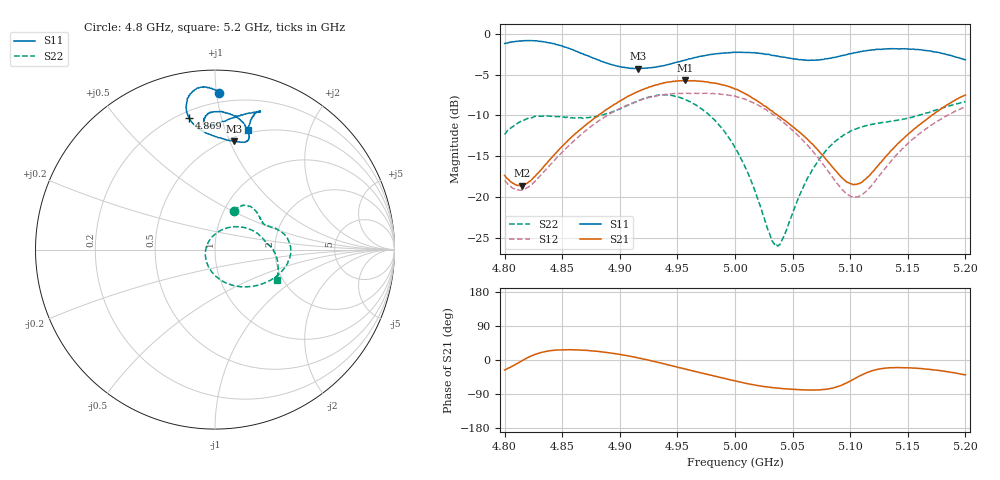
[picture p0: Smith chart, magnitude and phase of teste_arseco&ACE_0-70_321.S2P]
! Network Analyzer HP8722D
! Hewlett-Packard
! Data name: Linha & Wilkinson
! Saver's name: Rodrigo Anjos
! Comments: Teste da utilização de aquisição
! continua pelo VNA HP8722D
! Time and date: 8/5/2025 15:26
!  Frequency  S11  S21  S12  S22
# HZ  S  MA R 50
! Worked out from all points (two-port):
!   401 points, 4.8 GHz to 5.2 GHz, reference 50 ohm
!   highest |S21| = -5.73 dB at 4.957 GHz (marker M1); lowest = -18.6 dB at 4.815 GHz (marker M2)
!   |S21| within 3 dB of the highest: 4.895 GHz to 5.024 GHz (129.7 MHz wide, 2.62 % of centre); 5.18381 GHz to end of sweep
!   lowest |S11| = -4.3 dB at 4.916 GHz (marker M3), VSWR 4.15, Z = 27 + j52 ohm
!   |S11| at or under -10 dB: nowhere
!   |S22| runs from -26.0 to -7.5 dB; largest |S21 - S12| = 0.89
!   S11 on the Smith chart (normalised r, x): 4.8 GHz: 0.14, +1.02; 4.869 GHz: 0.24, +0.79; 5.2 GHz: 0.47, +1.20
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4.8e9  0.8717 88.4  0.1353 -26.4  0.1262 101.2  0.2409 63.7
4.815e9  0.9033 92.7  0.1172 -2.1  0.1102 122.5  0.2944 57.3
4.845e9  0.8575 100.2  0.1872 26.3  0.173 150.3  0.3112 39.5
4.867e9  0.7563 101.3  0.2633 25.9  0.2428 153.2  0.3045 30.1
4.869e9  0.7463 101.2  0.2705 25.7  0.25 153.1  0.3049 29.3
4.894e9  0.643 92.8  0.3634 17.6  0.331 147.6  0.3334 22.5
4.916e9  0.6119 79.9  0.4434 5.3  0.3884 139.0  0.3872 14.1
4.934e9  0.6286 73.5  0.4903 -6.9  0.4198 128.9  0.4217 2.3
4.957e9  0.6909 75.0  0.517 -24.1  0.4314 114.3  0.3952 -16.8
4.981e9  0.7483 81.2  0.4985 -41.5  0.4306 99.2  0.3013 -42.1
5e9  0.771 87.4  0.4582 -55.3  0.4149 85.8  0.2003 -69.9
5.018e9  0.7618 92.2  0.3924 -66.7  0.3713 73.6  0.1058 -109.0
5.03e9  0.7454 94.2  0.3432 -71.9  0.3308 66.8  0.05951 -155.4
5.036e9  0.7302 94.8  0.3204 -73.9  0.3076 64.0  0.05064 167.4
5.041e9  0.7188 95.0  0.3013 -75.4  0.2908 62.1  0.05477 135.6
5.067e9  0.6893 92.7  0.2115 -79.2  0.192 57.8  0.1459 57.8
5.084e9  0.7101 87.0  0.1542 -74.6  0.1337 64.4  0.209 35.3
5.103e9  0.7622 79.2  0.1186 -50.8  0.09959 91.5  0.2579 19.2
5.113e9  0.7841 75.5  0.1277 -35.2  0.1068 109.2  0.2723 13.7
5.134e9  0.807 72.1  0.1863 -20.5  0.1608 125.8  0.2898 7.1
5.17e9  0.7822 73.9  0.3123 -25.1  0.2738 120.1  0.3329 -2.8
5.2e9  0.6926 74.6  0.4207 -39.4  0.358 108.5  0.3829 -26.2
